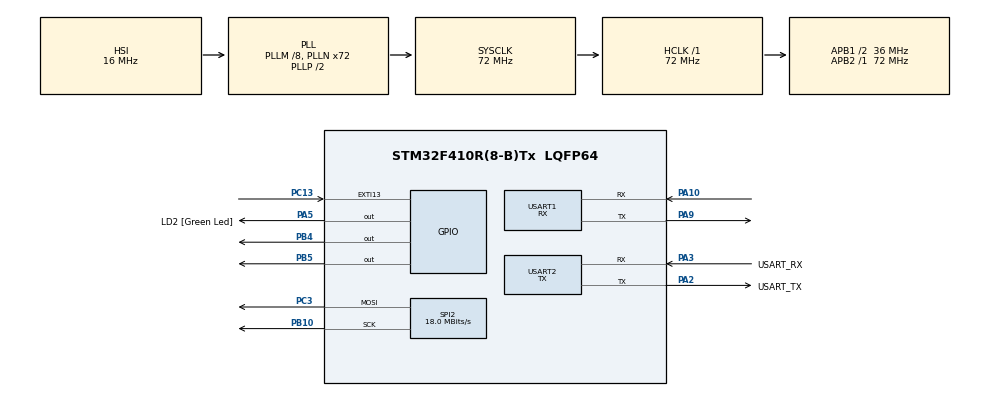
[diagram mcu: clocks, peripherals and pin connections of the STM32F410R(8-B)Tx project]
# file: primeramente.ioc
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Mcu.Family=STM32F4
Mcu.Name=STM32F410R(8-B)Tx
Mcu.Package=LQFP64
NVIC.EXTI15_10_IRQn=true\:0\:0\:false\:false\:true\:true\:true\:true
NVIC.PriorityGroup=NVIC_PRIORITYGROUP_0
NVIC.TIM1_TRG_COM_TIM11_IRQn=true\:0\:0\:false\:false\:true\:true\:true\:true
NVIC.USART1_IRQn=true\:0\:0\:false\:false\:true\:true\:true\:true
PA10.Mode=Asynchronous
PA10.Signal=USART1_RX
PA13.GPIO_Label=TMS
PA13.Mode=Serial_Wire
PA13.Signal=SYS_JTMS-SWDIO
PA14.GPIO_Label=TCK
PA14.Mode=Serial_Wire
PA14.Signal=SYS_JTCK-SWCLK
PA2.GPIO_Label=USART_TX
PA2.Mode=Asynchronous
PA2.Signal=USART2_TX
PA3.GPIO_Label=USART_RX
PA3.Mode=Asynchronous
PA3.Signal=USART2_RX
PA5.GPIO_Label=LD2 [Green Led]
PA5.Signal=GPIO_Output
PA9.Mode=Asynchronous
PA9.Signal=USART1_TX
PB10.Mode=TX_Only_Simplex_Unidirect_Master
PB10.Signal=SPI2_SCK
PB3.GPIO_Label=SWO
PB3.Signal=SYS_JTDO-SWO
PB4.Signal=GPIO_Output
PB5.Signal=GPIO_Output
PC13-ANTI_TAMP.Signal=GPXTI13
PC14-OSC32_IN.Mode=LSE-External-Oscillator
PC14-OSC32_IN.Signal=RCC_OSC32_IN
PC15-OSC32_OUT.Mode=LSE-External-Oscillator
PC15-OSC32_OUT.Signal=RCC_OSC32_OUT
PC3.Mode=TX_Only_Simplex_Unidirect_Master
PC3.Signal=SPI2_MOSI
PH0\ -\ OSC_IN.Mode=HSE-External-Clock-Source
PH0\ -\ OSC_IN.Signal=RCC_OSC_IN
PH1\ -\ OSC_OUT.Mode=HSE-External-Clock-Source
PH1\ -\ OSC_OUT.Signal=RCC_OSC_OUT
ProjectManager.HeapSize=0x200
ProjectManager.StackSize=0x400
ProjectManager.TargetToolchain=STM32CubeIDE
RCC.48MHZClocksFreq_Value=36000000
RCC.AHBFreq_Value=72000000
RCC.APB1CLKDivider=RCC_HCLK_DIV2
RCC.APB1Freq_Value=36000000
RCC.APB1TimFreq_Value=72000000
RCC.APB2Freq_Value=72000000
RCC.APB2TimFreq_Value=72000000
RCC.CortexFreq_Value=72000000
RCC.FLatency-AdvancedSettings=FLASH_LATENCY_2
RCC.HCLKFreq_Value=72000000
RCC.HSE_VALUE=8000000
RCC.HSI_VALUE=16000000
RCC.PLLM=8
RCC.PLLN=72
RCC.SYSCLKFreq_VALUE=72000000
RCC.SYSCLKSource=RCC_SYSCLKSOURCE_PLLCLK
RCC.VCOOutputFreq_Value=144000000
SPI2.CalculateBaudRate=18.0 MBits/s
SPI2.Direction=SPI_DIRECTION_2LINES
SPI2.Mode=SPI_MODE_MASTER
SPI2.VirtualType=VM_MASTER
TIM11.AutoReloadPreload=TIM_AUTORELOAD_PRELOAD_DISABLE
TIM11.Period=25 - 1
TIM11.Prescaler=72 - 1
USART1.Mode=MODE_RX
USART1.VirtualMode=VM_ASYNC
USART2.Mode=MODE_TX
USART2.VirtualMode=VM_ASYNC
VP_TIM11_VS_ClockSourceINT.Mode=Enable_Timer
board=NUCLEO-F410RB

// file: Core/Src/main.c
/* USER CODE BEGIN Header */
/**
  ******************************************************************************
  * @file           : main.c
  * @brief          : Main program body
  ******************************************************************************
  * @attention
  *
  * Copyright (c) 2022 STMicroelectronics.
  * All rights reserved.
  *
  * This software is licensed under terms that can be found in the LICENSE file
  * in the root directory of this software component.
  * If no LICENSE file comes with this software, it is provided AS-IS.
  *
  ******************************************************************************
  */
/* USER CODE END Header */
#include "main.h"

/* USER CODE BEGIN Includes */
#include <stdio.h>
#include <math.h>
#include "wavetables.h"
#include "midiToFrequency.h"

/* USER CODE END Includes */

/* USER CODE BEGIN PD */
#define SAMPLE_RATE 40000
#define TABLE_LENGTH 1024
#define MAX_INT 65535
#define BETA 0.5
#define DEBOUNCE_TIME 175
#define MIDDLE_A 440.0
/* USER CODE END PD */

 SPI_HandleTypeDef hspi2;

TIM_HandleTypeDef htim11;

UART_HandleTypeDef huart1;
UART_HandleTypeDef huart2;

/* USER CODE BEGIN PV */

float volumen =0.0;

// uart variables
uint8_t UART2_rxBuffer[3] = {0};
uint8_t uart_counter = 0;
// wave selection variables
int SELECTED_WAVE = 0;

// debounce variables
uint32_t previousMillis = 0;
uint32_t currentMillis = 0;

// potentiometer and filter variables
uint16_t adcValue = 0;
uint16_t y_adc[2] = {0,0};

// timer, spi transmition,
uint8_t flag_tim = 0;
uint8_t flag_rx = 0;
uint8_t serial_data[2];

// wavetable global variables
uint16_t out_data = 0;
float pointer = 0.0f;

// global frequency
float freq = 0;
/* USER CODE END PV */

void SystemClock_Config(void);
static void MX_GPIO_Init(void);
static void MX_TIM11_Init(void);
static void MX_SPI2_Init(void);
static void MX_USART1_UART_Init(void);
static void MX_USART2_UART_Init(void);
/* USER CODE BEGIN PFP */
// system
void HAL_UART_RxCpltCallback(UART_HandleTypeDef *huart);
void HAL_TIM_PeriodElapsedCallback(TIM_HandleTypeDef *htim);
void HAL_GPIO_EXTI_Callback(uint16_t GPIO_Pin);
// user-defined
void calculateFrequency();
void serial_tx(void);
void write_L(void);
void write_R(void);
void oscillator();
void filter(uint16_t obs);
float mapRange(float a1,float a2,float b1,float b2,uint16_t s);
/* USER CODE END PFP */

int main(void)
{

  /* MCU Configuration--------------------------------------------------------*/

  /* Reset of all peripherals, Initializes the Flash interface and the Systick. */
  HAL_Init();

  /* Configure the system clock */
  SystemClock_Config();

  /* Initialize all configured peripherals */
  MX_GPIO_Init();
  MX_TIM11_Init();
  MX_SPI2_Init();
  MX_USART1_UART_Init();
  MX_USART2_UART_Init();
  /* USER CODE BEGIN 2 */
  HAL_TIM_Base_Start_IT(&htim11);
  HAL_GPIO_WritePin(GPIOB, GPIO_PIN_5, GPIO_PIN_SET); // not latch

  //uint8_t Test[] = "Hello World !!!\r\n";
  //HAL_UART_Transmit(&huart2, Test, sizeof(Test), 10);// Sending in normal mode
  HAL_UART_Receive_IT(&huart1, UART2_rxBuffer, 3);

  /* USER CODE END 2 */

  /* Infinite loop */
  /* USER CODE BEGIN WHILE */
  while (1){

	  //HAL_GPIO_TogglePin(GPIOA, GPIO_PIN_5);
	  //uint8_t Test[3] = "012";
	  //HAL_UART_Transmit(&huart1, Test, sizeof(Test), 10);// Sending in normal mode
	  //HAL_Delay(2000);

	  //freq = 440;
	  calculateFrequency();
	  //out_data *= (UART2_rxBuffer[2]/127.0);
    /* USER CODE END WHILE */

    /* USER CODE BEGIN 3 */
	  if(flag_tim == 1){
		flag_tim = 0;
		// send data to DAC
		if(UART2_rxBuffer[0] == 0x90){
			// sawtooth waveform v2.0
			oscillator();
		}else{
			out_data=0x00;
		}
		write_L();
		write_R();
		// latch dac registers
		HAL_GPIO_WritePin(GPIOB, GPIO_PIN_5, GPIO_PIN_RESET);
		HAL_GPIO_WritePin(GPIOB, GPIO_PIN_5, GPIO_PIN_SET);

	  }
	  if(flag_rx == 1){
		  //uint8_t Test[] = "Hello World !!!\r\n"; //Data to send
		  flag_rx = 0;
		  HAL_UART_Receive_IT(&huart1, UART2_rxBuffer, 3); //idk
		  HAL_UART_Transmit(&huart2, UART2_rxBuffer, sizeof(UART2_rxBuffer), 100);
		  HAL_GPIO_TogglePin(GPIOA, GPIO_PIN_5);
		  volumen = (UART2_rxBuffer[2]/127.0);

		  //HAL_UART_Transmit(&huart2, UART2_rxBuffer, sizeof(UART2_rxBuffer), 10);// Sending in normal mode
	  }
  }
  /* USER CODE END 3 */
}

void SystemClock_Config(void)
{
  RCC_OscInitTypeDef RCC_OscInitStruct = {0};
  RCC_ClkInitTypeDef RCC_ClkInitStruct = {0};

  /** Configure the main internal regulator output voltage
  */
  __HAL_RCC_PWR_CLK_ENABLE();
  __HAL_PWR_VOLTAGESCALING_CONFIG(PWR_REGULATOR_VOLTAGE_SCALE1);

  /** Initializes the RCC Oscillators according to the specified parameters
  * in the RCC_OscInitTypeDef structure.
  */
  RCC_OscInitStruct.OscillatorType = RCC_OSCILLATORTYPE_HSI;
  RCC_OscInitStruct.HSIState = RCC_HSI_ON;
  RCC_OscInitStruct.HSICalibrationValue = RCC_HSICALIBRATION_DEFAULT;
  RCC_OscInitStruct.PLL.PLLState = RCC_PLL_ON;
  RCC_OscInitStruct.PLL.PLLSource = RCC_PLLSOURCE_HSI;
  RCC_OscInitStruct.PLL.PLLM = 8;
  RCC_OscInitStruct.PLL.PLLN = 72;
  RCC_OscInitStruct.PLL.PLLP = RCC_PLLP_DIV2;
  RCC_OscInitStruct.PLL.PLLQ = 4;
  RCC_OscInitStruct.PLL.PLLR = 2;
  if (HAL_RCC_OscConfig(&RCC_OscInitStruct) != HAL_OK)
  {
    Error_Handler();
  }

  /** Initializes the CPU, AHB and APB buses clocks
  */
  RCC_ClkInitStruct.ClockType = RCC_CLOCKTYPE_HCLK|RCC_CLOCKTYPE_SYSCLK
                              |RCC_CLOCKTYPE_PCLK1|RCC_CLOCKTYPE_PCLK2;
  RCC_ClkInitStruct.SYSCLKSource = RCC_SYSCLKSOURCE_PLLCLK;
  RCC_ClkInitStruct.AHBCLKDivider = RCC_SYSCLK_DIV1;
  RCC_ClkInitStruct.APB1CLKDivider = RCC_HCLK_DIV2;
  RCC_ClkInitStruct.APB2CLKDivider = RCC_HCLK_DIV1;

  if (HAL_RCC_ClockConfig(&RCC_ClkInitStruct, FLASH_LATENCY_2) != HAL_OK)
  {
    Error_Handler();
  }
}

static void MX_SPI2_Init(void)
{

  /* SPI2 parameter configuration*/
  hspi2.Instance = SPI2;
  hspi2.Init.Mode = SPI_MODE_MASTER;
  hspi2.Init.Direction = SPI_DIRECTION_2LINES;
  hspi2.Init.DataSize = SPI_DATASIZE_8BIT;
  hspi2.Init.CLKPolarity = SPI_POLARITY_LOW;
  hspi2.Init.CLKPhase = SPI_PHASE_1EDGE;
  hspi2.Init.NSS = SPI_NSS_SOFT;
  hspi2.Init.BaudRatePrescaler = SPI_BAUDRATEPRESCALER_2;
  hspi2.Init.FirstBit = SPI_FIRSTBIT_MSB;
  hspi2.Init.TIMode = SPI_TIMODE_DISABLE;
  hspi2.Init.CRCCalculation = SPI_CRCCALCULATION_DISABLE;
  hspi2.Init.CRCPolynomial = 15;
  if (HAL_SPI_Init(&hspi2) != HAL_OK)
  {
    Error_Handler();
  }

}

static void MX_TIM11_Init(void)
{

  htim11.Instance = TIM11;
  htim11.Init.Prescaler = 72 - 1;
  htim11.Init.CounterMode = TIM_COUNTERMODE_UP;
  htim11.Init.Period = 25 - 1;
  htim11.Init.ClockDivision = TIM_CLOCKDIVISION_DIV1;
  htim11.Init.AutoReloadPreload = TIM_AUTORELOAD_PRELOAD_DISABLE;
  if (HAL_TIM_Base_Init(&htim11) != HAL_OK)
  {
    Error_Handler();
  }

}

static void MX_USART1_UART_Init(void)
{

  huart1.Instance = USART1;
  huart1.Init.BaudRate = 115200;
  huart1.Init.WordLength = UART_WORDLENGTH_8B;
  huart1.Init.StopBits = UART_STOPBITS_1;
  huart1.Init.Parity = UART_PARITY_NONE;
  huart1.Init.Mode = UART_MODE_RX;
  huart1.Init.HwFlowCtl = UART_HWCONTROL_NONE;
  huart1.Init.OverSampling = UART_OVERSAMPLING_16;
  if (HAL_UART_Init(&huart1) != HAL_OK)
  {
    Error_Handler();
  }

}

static void MX_USART2_UART_Init(void)
{

  huart2.Instance = USART2;
  huart2.Init.BaudRate = 115200;
  huart2.Init.WordLength = UART_WORDLENGTH_8B;
  huart2.Init.StopBits = UART_STOPBITS_1;
  huart2.Init.Parity = UART_PARITY_NONE;
  huart2.Init.Mode = UART_MODE_TX;
  huart2.Init.HwFlowCtl = UART_HWCONTROL_NONE;
  huart2.Init.OverSampling = UART_OVERSAMPLING_16;
  if (HAL_UART_Init(&huart2) != HAL_OK)
  {
    Error_Handler();
  }

}

static void MX_GPIO_Init(void)
{
  GPIO_InitTypeDef GPIO_InitStruct = {0};

  /* GPIO Ports Clock Enable */
  __HAL_RCC_GPIOC_CLK_ENABLE();
  __HAL_RCC_GPIOH_CLK_ENABLE();
  __HAL_RCC_GPIOA_CLK_ENABLE();
  __HAL_RCC_GPIOB_CLK_ENABLE();

  /*Configure GPIO pin Output Level */
  HAL_GPIO_WritePin(LD2_GPIO_Port, LD2_Pin, GPIO_PIN_RESET);

  /*Configure GPIO pin Output Level */
  HAL_GPIO_WritePin(GPIOB, GPIO_PIN_4|GPIO_PIN_5, GPIO_PIN_RESET);

  /*Configure GPIO pin : PC13 */
  GPIO_InitStruct.Pin = GPIO_PIN_13;
  GPIO_InitStruct.Mode = GPIO_MODE_IT_RISING;
  GPIO_InitStruct.Pull = GPIO_NOPULL;
  HAL_GPIO_Init(GPIOC, &GPIO_InitStruct);

  /*Configure GPIO pin : LD2_Pin */
  GPIO_InitStruct.Pin = LD2_Pin;
  GPIO_InitStruct.Mode = GPIO_MODE_OUTPUT_PP;
  GPIO_InitStruct.Pull = GPIO_NOPULL;
  GPIO_InitStruct.Speed = GPIO_SPEED_FREQ_LOW;
  HAL_GPIO_Init(LD2_GPIO_Port, &GPIO_InitStruct);

  /*Configure GPIO pins : PB4 PB5 */
  GPIO_InitStruct.Pin = GPIO_PIN_4|GPIO_PIN_5;
  GPIO_InitStruct.Mode = GPIO_MODE_OUTPUT_PP;
  GPIO_InitStruct.Pull = GPIO_NOPULL;
  GPIO_InitStruct.Speed = GPIO_SPEED_FREQ_LOW;
  HAL_GPIO_Init(GPIOB, &GPIO_InitStruct);

  /* EXTI interrupt init*/
  HAL_NVIC_SetPriority(EXTI15_10_IRQn, 0, 0);
  HAL_NVIC_EnableIRQ(EXTI15_10_IRQn);

}

/* USER CODE BEGIN 4 */
void HAL_UART_RxCpltCallback(UART_HandleTypeDef *huart){
	flag_rx = 1;
    //HAL_UART_Receive_IT(&huart2, UART2_rxBuffer, 3);
}

void HAL_GPIO_EXTI_Callback(uint16_t GPIO_Pin){
	currentMillis = HAL_GetTick();
	if(GPIO_Pin == GPIO_PIN_13 && (currentMillis - previousMillis > DEBOUNCE_TIME)){
		SELECTED_WAVE = (SELECTED_WAVE+1)%3;
		previousMillis = currentMillis;
	}
}

void HAL_TIM_PeriodElapsedCallback(TIM_HandleTypeDef *htim){
  // Check which version of the timer triggered this callback and toggle LED
  if (htim == &htim11){
	  flag_tim = 1;
  }
}

void calculateFrequency(){
	uint8_t note = UART2_rxBuffer[1];
	freq = midiToFreq[note];
}

float mapRange(float a1,float a2,float b1,float b2,uint16_t s){
  float result = b1 + (s-a1)*(b2-b1)/(a2-a1);
  return result;
}

void filter(uint16_t obs){
  y_adc[1] = BETA*obs + (1-BETA)*y_adc[0];
  y_adc[0] = y_adc[1];
}

void oscillator(){
  uint16_t a,b;
  float da,db,increase;
  uint16_t osc;

  increase = TABLE_LENGTH*(freq/SAMPLE_RATE);
  pointer = pointer + increase;
  if(pointer > TABLE_LENGTH){
    pointer = pointer - TABLE_LENGTH;
  }
  a = (uint16_t)pointer;
  da = pointer - a;
  b = a + 1;
  db = b - pointer;
  if (b >= TABLE_LENGTH){
    b = 0;
  }
  switch(SELECTED_WAVE){
  case 0:
    osc = db*triangle[a] + da*triangle[b];
    break;
  case 1:
    osc = db*sawtooth[a] + da*sawtooth[b];
    break;
  case 2:
    osc = db*sine[a] + da*sine[b];
    break;
  default:
    break;
  }

  out_data = (uint16_t)(osc*volumen);
  out_data = (out_data & 0x0FFF);

}

void serial_tx(){
  HAL_GPIO_WritePin(GPIOB, GPIO_PIN_4, GPIO_PIN_RESET);
  HAL_SPI_Transmit(&hspi2, serial_data, 2, 1000);
  HAL_GPIO_WritePin(GPIOB, GPIO_PIN_4, GPIO_PIN_SET);
}

void write_L(){
  // sawtooth waveform
  serial_data[0] = 0x30 | (out_data>>8 & 0x0F); // upper 8 bits
  serial_data[1] = out_data;
  serial_tx();
}

void write_R(){
  // sawtooth waveform
  serial_data[0] = 0xB0 | (out_data>>8 & 0x0F); // upper 8 bits
  serial_data[1] = out_data; // lower 8 bits
  serial_tx();
}

/* USER CODE END 4 */

void Error_Handler(void)
{
  __disable_irq();
  while (1)
  {
  }
}
